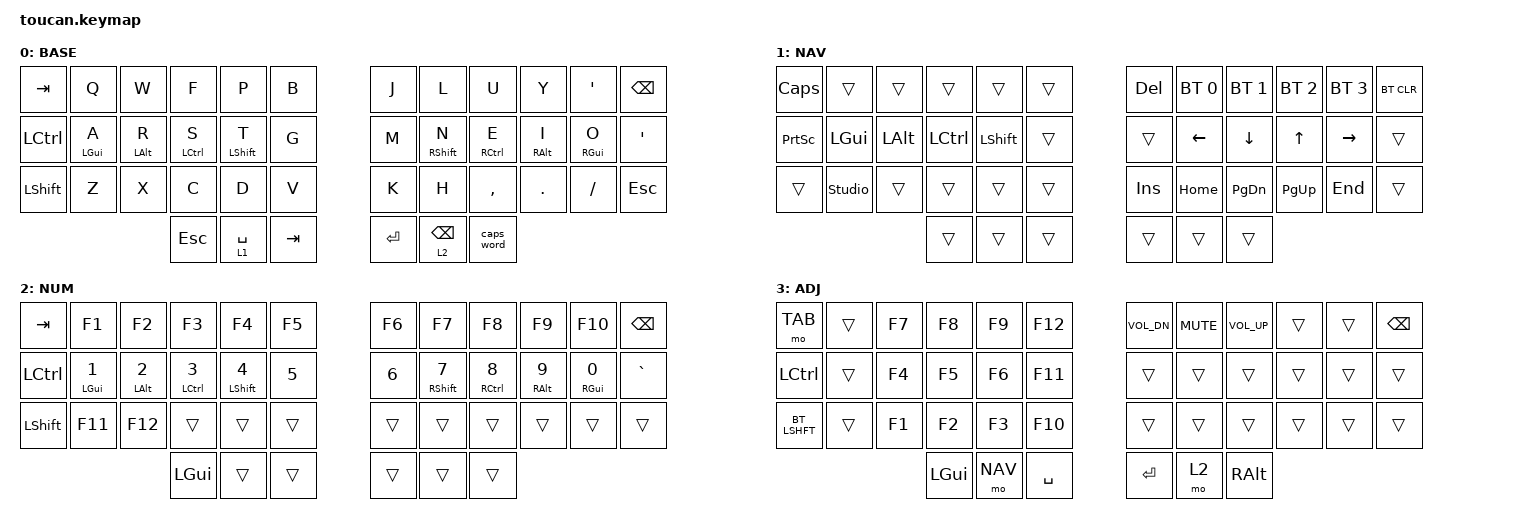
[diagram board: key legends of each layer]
#include <behaviors.dtsi>
#include <dt-bindings/zmk/keys.h>
#include <dt-bindings/zmk/bt.h>
#include <dt-bindings/zmk/outputs.h>
#include "42.h"

#define BASE 0
#define NAV  1
#define SYM  2
#define ADJ  3

&caps_word {
    continue-list = <UNDERSCORE MINUS BACKSPACE>;
};


/ {
    /* conditional_layers { */
    /*     compatible = "zmk,conditional-layers"; */
    /*     tri_layer { */
    /*         if-layers = <1 2>; */
    /*         then-layer = <3>; */
    /*     }; */
    /* }; */

    #include "combos.h"

    behaviors {
        hml: home_row_mod_left {
            compatible = "zmk,behavior-hold-tap";
            #binding-cells = <2>;
            flavor = "balanced";
            require-prior-idle-ms = <150>;
            tapping-term-ms = <280>;
            quick-tap-ms = <175>;
            bindings = <&kp>, <&kp>;
            hold-trigger-key-positions = < KEYS_R THUMBS >; // List of keys on the right side of the keyboard
            hold-trigger-on-release;
        };
        hmr: home_row_mod_right {
            compatible = "zmk,behavior-hold-tap";
            #binding-cells = <2>;
            flavor = "balanced";
            require-prior-idle-ms = <150>;
            tapping-term-ms = <280>;
            quick-tap-ms = <175>;
            bindings = <&kp>, <&kp>;
            hold-trigger-key-positions = < KEYS_L THUMBS >; // List of keys on the left side of the keyboard
            hold-trigger-on-release;
        };
        tlt: thumb_layer_tap {
            compatible = "zmk,behavior-hold-tap";
            #binding-cells = <2>;
            flavor = "balanced";
            quick-tap-ms = <250>;
            tapping-term-ms = <400>;
            bindings = <&mo>, <&kp>;
        };
    };
    keymap {
        compatible = "zmk,keymap";

        base {
            display-name = "BASE";
            bindings = <
                &kp TAB   &kp Q &kp W &kp F &kp P &kp B   &kp J &kp L  &kp U     &kp Y   &kp SQT    &kp BSPC
           &kp LCTRL &hml LGUI A &hml LALT R &hml LCTRL S &hml LSHFT T &kp G   &kp M &hmr RSHFT N &hmr RCTRL E &hmr RALT I &hmr RGUI O &kp SQT
                &kp LSHFT &kp Z &kp X &kp C &kp D &kp V   &kp K &kp H  &kp COMMA &kp DOT &kp FSLH &kp ESC
                            &kp ESC &tlt 1 SPC &kp TAB   &kp RET &tlt 2 BSPC &caps_word
            >;
        };

        nav {
            display-name = "NAV";
            bindings = <
                &kp CAPS  &trans   &trans   &trans    &trans    &trans     &kp DEL &bt BT_SEL 0 &bt BT_SEL 1 &bt BT_SEL 2 &bt BT_SEL 3 &bt BT_CLR
                &kp PSCRN &kp LGUI &kp LALT &kp LCTRL &kp LSHFT &trans     &trans  &kp LEFT     &kp DOWN     &kp UP       &kp RIGHT    &trans
                &trans &studio_unlock &trans &trans   &trans    &trans     &kp INS &kp HOME     &kp PG_DN    &kp PG_UP    &kp END      &trans
                                          &trans &trans &trans      &trans &trans &trans
            >;
        };

        sym {
            display-name = "NUM";
            bindings = <
                &kp TAB   &kp F1 &kp F2 &kp F3 &kp F4 &kp F5         &kp F6 &kp F7  &kp F8 &kp F9 &kp F10 &kp BSPC
      &kp LCTRL &hml LGUI N1 &hml LALT N2 &hml LCTRL N3 &hml LSHFT N4 &kp N5         &kp N6 &hmr RSHFT N7 &hmr RCTRL N8 &hmr RALT N9 &hmr RGUI N0  &kp GRAVE
                &kp LSHFT &kp F11 &kp F12 &trans   &trans   &trans   &trans &trans &trans &trans &trans &trans
                                          &kp LGUI &trans   &trans   &trans &trans &trans
            >;
        };

        adj {
            display-name = "ADJ";
            bindings = <
                &mo TAB   &trans &kp F7 &kp F8 &kp F9 &kp F12   &kp C_VOL_DN &kp C_MUTE  &kp C_VOL_UP &trans &trans &kp BSPC
                &kp LCTRL &trans &kp F4 &kp F5 &kp F6 &kp F11   &trans       &trans      &trans       &trans &trans &trans
                &bt LSHFT &trans &kp F1 &kp F2 &kp F3 &kp F10   &trans       &trans      &trans       &trans &trans &trans
                                   &kp LGUI &mo NAV &kp SPACE   &kp RET &mo 2 &kp RALT
            >;
        };
        extra_1 {
                status = "reserved";
        };

        extra_2 {
                status = "reserved";
        };

        extra_3 {
                status = "reserved";
        };
    };
};
